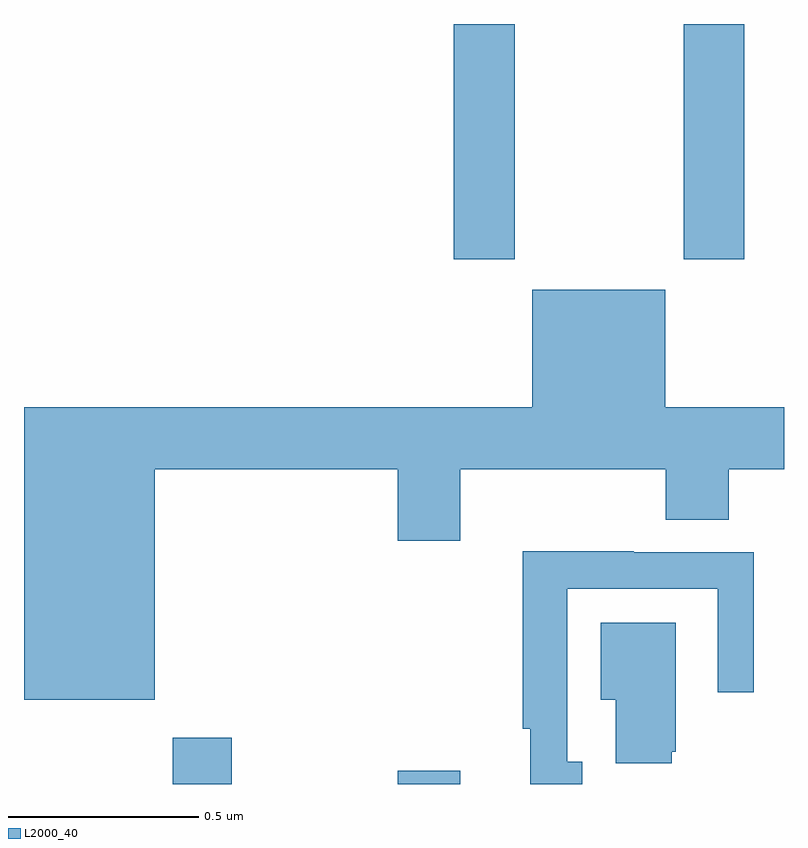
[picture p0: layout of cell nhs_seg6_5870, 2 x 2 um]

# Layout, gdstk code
import gdstk
lib = gdstk.Library(unit=1e-6, precision=1e-09)
def R(c, l, rs):  # rectangles x0, y0, x1, y1
    for r in rs: c.add(gdstk.rectangle(r[:2], r[2:], *l))
def P(c, l, *ps):  # polygons
    for p in ps: c.add(gdstk.Polygon(p, *l))
L2000_40 = (2000, 40)

nhs_seg6_5870 = lib.new_cell('nhs_seg6_5870')
R(nhs_seg6_5870, L2000_40, [(188.392,954.5,188.547,954.622), (188.984,954.5,189.148,954.535), (189.131,955.881,189.291,956.5), (189.736,955.881,189.896,956.5)])
P(nhs_seg6_5870, L2000_40, [(188.344,955.328),(188.984,955.328),(188.984,955.14),(189.148,955.14),(189.148,955.328),(189.689,955.328),(189.689,955.195),(189.854,955.195),(189.854,955.328),(190,955.328),(190,955.492),(189.688,955.492),(189.688,955.801),(189.338,955.801),(189.338,955.492),(188,955.492),(188,954.722),(188.344,954.722)],
  [(189.469,954.558),(189.429,954.558),(189.429,955.014),(189.825,955.014),(189.825,954.741),(189.921,954.741),(189.921,955.11),(189.605,955.11),(189.605,955.112),(189.313,955.112),(189.313,954.646),(189.332,954.646),(189.332,954.5),(189.469,954.5)],
  [(189.704,954.585),(189.715,954.585),(189.715,954.925),(189.518,954.925),(189.518,954.722),(189.557,954.722),(189.557,954.554),(189.704,954.554)])

lib.write_gds('nhs_seg6_5870.gds')
